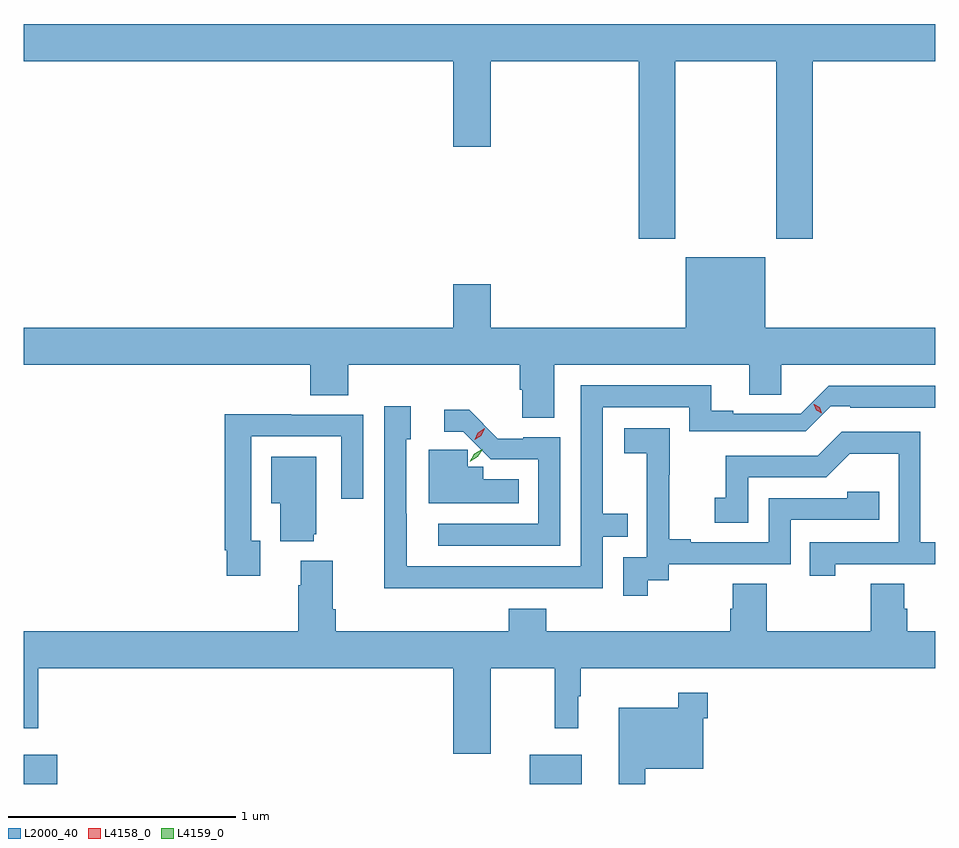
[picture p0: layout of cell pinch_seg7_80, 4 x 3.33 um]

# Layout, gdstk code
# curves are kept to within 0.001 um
import gdstk
lib = gdstk.Library(unit=1e-6, precision=1e-09)
def R(c, l, rs):  # rectangles x0, y0, x1, y1
    for r in rs: c.add(gdstk.rectangle(r[:2], r[2:], *l))
def P(c, l, *ps):  # polygons
    for p in ps: c.add(gdstk.Polygon(p, *l))
L2000_40 = (2000, 40)
L4158_0 = (4158, 0)
L4159_0 = (4159, 0)

pinch_seg7_80 = lib.new_cell('pinch_seg7_80')
R(pinch_seg7_80, L2000_40, [(918.367,1038.737,918.514,1038.865), (920.588,1038.737,920.815,1038.865)])
P(pinch_seg7_80, L2000_40, [(921.225,1041.908),(921.67,1041.908),(921.67,1041.129),(921.83,1041.129),(921.83,1041.908),(922.367,1041.908),(922.367,1042.072),(918.367,1042.072),(918.367,1041.908),(920.252,1041.908),(920.252,1041.534),(920.416,1041.534),(920.416,1041.908),(921.065,1041.908),(921.065,1041.129),(921.225,1041.129)],
  [(920.695,1040.576),(921.551,1040.576),(921.551,1040.446),(921.691,1040.446),(921.691,1040.576),(922.367,1040.576),(922.367,1040.74),(921.622,1040.74),(921.622,1041.049),(921.272,1041.049),(921.272,1040.74),(920.416,1040.74),(920.416,1040.929),(920.252,1040.929),(920.252,1040.74),(918.367,1040.74),(918.367,1040.576),(919.625,1040.576),(919.625,1040.443),(919.79,1040.443),(919.79,1040.576),(920.543,1040.576),(920.543,1040.466),(920.555,1040.466),(920.555,1040.344),(920.695,1040.344)],
  [(920.411,1039.596),(920.907,1039.596),(920.907,1039.821),(921.017,1039.821),(921.017,1039.922),(920.907,1039.922),(920.907,1040.391),(921.288,1040.391),(921.288,1040.284),(921.799,1040.284),(921.909,1040.394),(921.994,1040.394),(921.994,1040.388),(922.367,1040.388),(922.367,1040.484),(921.9,1040.484),(921.777,1040.361),(921.481,1040.361),(921.481,1040.374),(921.385,1040.374),(921.385,1040.487),(920.811,1040.487),(920.811,1039.692),(920.047,1039.692),(920.046,1040.25),(920.065,1040.25),(920.065,1040.395),(919.95,1040.395),(919.95,1039.901),(919.948,1039.901),(919.948,1039.595)],
  [(920.721,1040.259),(920.559,1040.259),(920.559,1040.253),(920.447,1040.253),(920.321,1040.38),(920.213,1040.38),(920.213,1040.283),(920.296,1040.283),(920.416,1040.163),(920.625,1040.163),(920.625,1039.878),(920.187,1039.878),(920.187,1039.782),(920.721,1039.782)],
  [(919.405,1039.805),(919.365,1039.805),(919.365,1040.262),(919.761,1040.262),(919.761,1039.989),(919.857,1039.989),(919.857,1040.358),(919.541,1040.358),(919.541,1040.36),(919.249,1040.36),(919.249,1039.762),(919.257,1039.762),(919.257,1039.65),(919.405,1039.65)],
  [(921.106,1039.632),(921.198,1039.632),(921.198,1039.701),(921.732,1039.701),(921.732,1039.896),(922.121,1039.896),(922.121,1040.019),(921.981,1040.019),(921.981,1039.992),(921.636,1039.992),(921.636,1039.797),(921.295,1039.797),(921.295,1039.81),(921.2,1039.81),(921.2,1040.093),(921.201,1040.093),(921.201,1040.299),(921.003,1040.299),(921.003,1040.189),(921.101,1040.189),(921.101,1039.961),(921.102,1039.961),(921.102,1039.731),(920.997,1039.731),(920.997,1039.563),(921.106,1039.563)],
  [(921.928,1039.701),(922.367,1039.701),(922.367,1039.797),(922.302,1039.797),(922.302,1040.283),(921.956,1040.283),(921.851,1040.178),(921.448,1040.178),(921.448,1039.993),(921.399,1039.993),(921.399,1039.884),(921.546,1039.884),(921.546,1040.082),(921.888,1040.082),(921.992,1040.186),(922.206,1040.186),(922.206,1039.797),(921.817,1039.797),(921.817,1039.65),(921.928,1039.65)],
  [(920.54,1040.074),(920.383,1040.074),(920.383,1040.129),(920.316,1040.129),(920.316,1040.203),(920.144,1040.203),(920.144,1039.97),(920.54,1039.97)],
  [(919.64,1039.833),(919.651,1039.833),(919.651,1040.173),(919.454,1040.173),(919.454,1039.97),(919.493,1039.97),(919.493,1039.802),(919.64,1039.802)],
  [(920.416,1039.244),(920.698,1039.244),(920.698,1038.981),(920.8,1038.981),(920.8,1039.121),(920.812,1039.121),(920.812,1039.244),(922.367,1039.244),(922.367,1039.408),(922.244,1039.408),(922.244,1039.506),(922.231,1039.506),(922.231,1039.616),(922.084,1039.616),(922.084,1039.408),(921.627,1039.408),(921.627,1039.616),(921.479,1039.616),(921.479,1039.506),(921.467,1039.506),(921.467,1039.408),(920.66,1039.408),(920.66,1039.507),(920.495,1039.507),(920.495,1039.408),(919.736,1039.408),(919.736,1039.504),(919.723,1039.504),(919.723,1039.717),(919.583,1039.717),(919.583,1039.61),(919.571,1039.61),(919.571,1039.408),(918.367,1039.408),(918.367,1038.981),(918.431,1038.981),(918.431,1039.244),(920.252,1039.244),(920.252,1038.87),(920.416,1038.87)],
  [(921.095,1038.803),(921.348,1038.803),(921.348,1039.025),(921.368,1039.025),(921.368,1039.138),(921.24,1039.138),(921.24,1039.072),(920.978,1039.072),(920.978,1038.737),(921.095,1038.737)])
P(pinch_seg7_80, L4158_0, [(921.868,1040.364),(921.844,1040.377),(921.834,1040.403),(921.834,1040.404),(921.835,1040.404),(921.859,1040.39),(921.869,1040.364),(921.869,1040.364)],
  [(920.346,1040.247),(920.346,1040.247),(920.36,1040.278),(920.389,1040.297),(920.389,1040.297),(920.389,1040.296),(920.375,1040.265),(920.346,1040.247)])
P(pinch_seg7_80, L4159_0, [(920.324,1040.151),(920.324,1040.152),(920.345,1040.186),(920.38,1040.207),(920.381,1040.207),(920.381,1040.207),(920.359,1040.172),(920.324,1040.151)])

lib.write_gds('pinch_seg7_80.gds')
